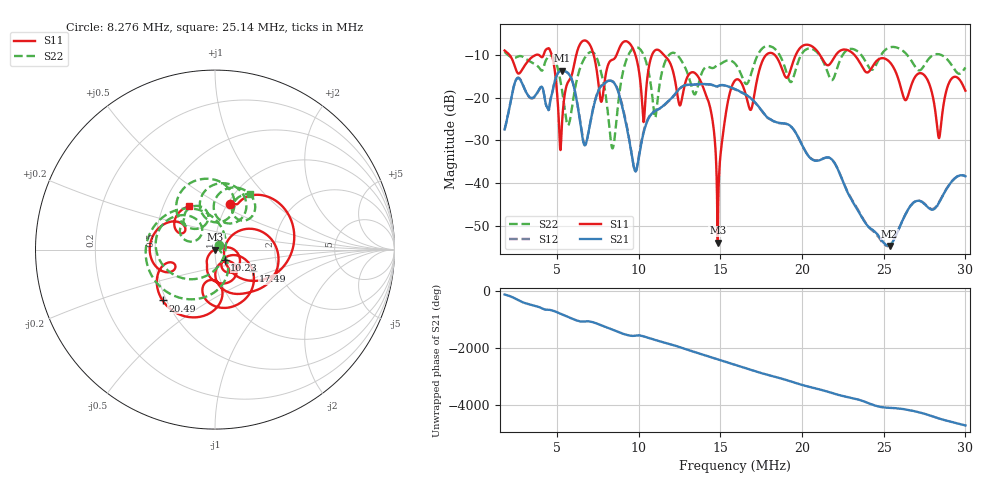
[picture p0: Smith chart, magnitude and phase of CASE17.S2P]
!Agilent Technologies,E5061B,MY49101568,A.02.00
!Date: Wed Mar 01 15:06:57 2023
!Data & Calibration Information:
!Freq	S11:SOLT2(OFF)	S21:SOLT2(OFF)	S12:SOLT2(OFF)	S22:SOLT2(OFF)
# Hz S dB R 50
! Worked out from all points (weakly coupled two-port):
!   1155 points, 1.8 MHz to 30 MHz, reference 50 ohm
!   highest |S21| = -13.76 dB at 5.294 MHz (marker M1); lowest = -54.7 dB at 25.36 MHz (marker M2)
!   lowest |S11| = -53.9 dB at 14.85 MHz (marker M3), VSWR 1.00, Z = 50.2 - j0.0782 ohm
!   |S11| at or under -10 dB: 2.087 MHz to 3.759 MHz (1.672 MHz wide, 57.2 % of centre); 11.53 MHz to 17.82 MHz (6.289 MHz wide, 42.9 % of centre); 23.2 MHz to end of sweep (the widest 3 of 9)
!   |S22| runs from -31.9 to -8.0 dB; largest |S21 - S12| = 0.0043
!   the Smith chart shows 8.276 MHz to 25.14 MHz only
!   S11 on the Smith chart (normalised r, x): 8.276 MHz: 1.02, +0.56; 10.23 MHz: 1.11, -0.12; 17.49 MHz: 1.48, -0.37; 20.49 MHz: 0.48, -0.32; 25.14 MHz: 0.67, +0.35
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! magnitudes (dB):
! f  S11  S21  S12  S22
! 1.8 MHz  -9.0  -27.5  -27.5  -9.3
! 2.606 MHz  -14.3  -15.4  -15.4  -10.4
! 4.537 MHz  -8.6  -22.3  -22.3  -10.1
! 5.294 MHz  -27.3  -13.8  -13.8  -17.8
! 5.71 MHz  -16.2  -14.4  -14.4  -26.4
! 6.516 MHz  -7.0  -28.2  -27.8  -12.2
! 7.445 MHz  -13.9  -19.4  -19.3  -10.8
! 8.276 MHz  -11.4  -16.1  -16.0  -29.3
! 9.766 MHz  -9.6  -37.0  -37.1  -8.3
! 10.23 MHz  -22.2  -29.5  -29.1  -9.5
! 11.21 MHz  -8.9  -22.7  -22.8  -19.1
! 13.85 MHz  -16.6  -16.8  -16.9  -14.5
! 14.85 MHz  -53.9  -17.3  -17.4  -12.4
! 15.9 MHz  -16.0  -18.0  -18.1  -12.1
! 17.49 MHz  -12.4  -22.8  -22.9  -8.9
! 20.49 MHz  -7.8  -34.1  -34.0  -8.5
! 20.62 MHz  -8.0  -34.5  -34.4  -8.6
! 25.14 MHz  -11.0  -54.4  -54.5  -8.7
! 25.31 MHz  -11.5  -54.6  -54.6  -8.4
! 25.36 MHz  -11.7  -54.7  -54.6  -8.3
! 28.39 MHz  -29.5  -44.5  -44.4  -9.9
! 30 MHz  -18.4  -38.4  -38.4  -13.0
